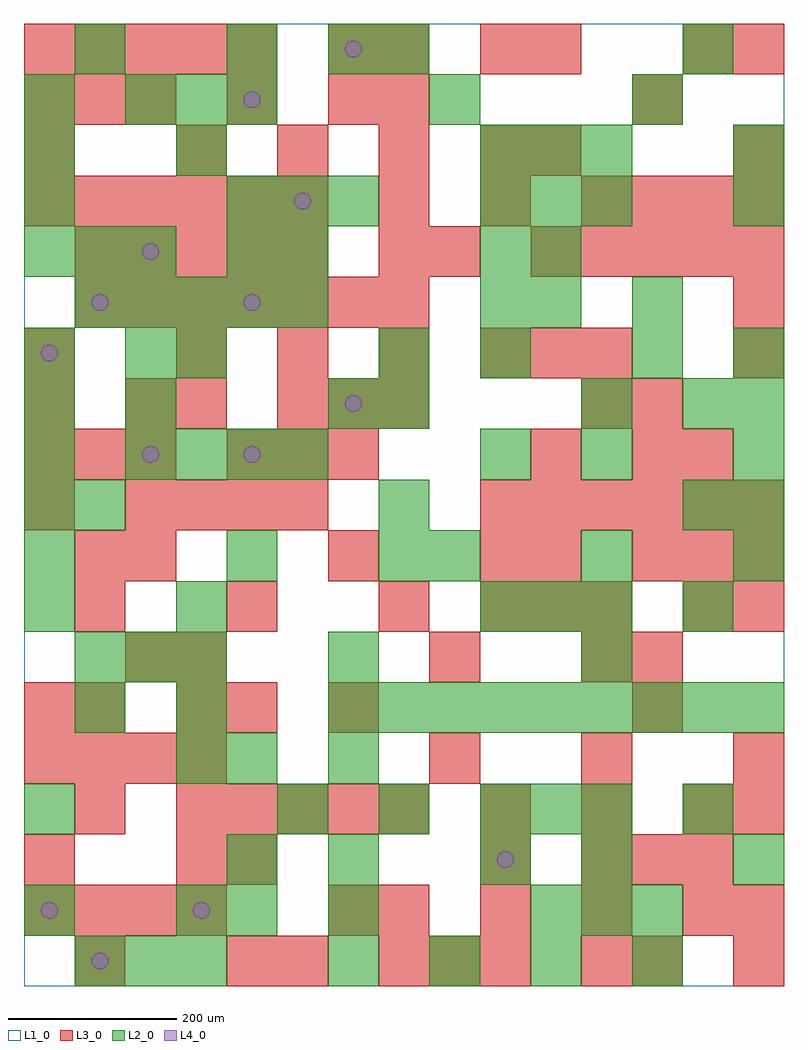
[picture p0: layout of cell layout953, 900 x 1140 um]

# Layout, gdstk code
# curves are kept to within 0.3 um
import gdstk
lib = gdstk.Library(unit=1e-6, precision=1e-09)
def R(c, l, rs):  # rectangles x0, y0, x1, y1
    for r in rs: c.add(gdstk.rectangle(r[:2], r[2:], *l))
def A(c, l, x, y, w, h, nx, ny, dx, dy):  # array of equal rectangles
    R(c, l, [(x+i*dx, y+j*dy, x+i*dx+w, y+j*dy+h) for i in range(nx) for j in range(ny)])
def P(c, l, *ps):  # polygons
    for p in ps: c.add(gdstk.Polygon(p, *l))
L1_0 = (1, 0)
L2_0 = (2, 0)
L3_0 = (3, 0)
L4_0 = (4, 0)

layout953 = lib.new_cell('layout953')
R(layout953, L1_0, [(0,0,900,1140)])
A(layout953, L2_0, 60, 0, 60, 60, 3, 2, 60, 360)
A(layout953, L2_0, 360, 0, 60, 60, 4, 1, 120, 0)
A(layout953, L2_0, 600, 60, 60, 60, 3, 1, 60, 0)
A(layout953, L2_0, 360, 120, 60, 60, 1, 3, 0, 120)
A(layout953, L2_0, 300, 180, 60, 60, 3, 1, 120, 0)
A(layout953, L2_0, 780, 180, 60, 60, 1, 3, 0, 240)
A(layout953, L2_0, 360, 300, 60, 60, 9, 1, 60, 0)
A(layout953, L2_0, 0, 420, 60, 60, 1, 6, 0, 60)
A(layout953, L2_0, 540, 420, 60, 60, 3, 2, 60, 480)
A(layout953, L2_0, 480, 480, 60, 60, 3, 1, 180, 0)
A(layout953, L2_0, 60, 540, 60, 60, 3, 1, 360, 0)
A(layout953, L2_0, 840, 540, 60, 60, 1, 4, 0, 60)
A(layout953, L2_0, 120, 600, 60, 60, 4, 1, 60, 0)
A(layout953, L2_0, 540, 720, 60, 60, 1, 3, 0, 60)
A(layout953, L2_0, 60, 780, 60, 60, 5, 1, 60, 0)
A(layout953, L2_0, 0, 840, 60, 60, 3, 1, 60, 0)
A(layout953, L2_0, 0, 900, 60, 60, 1, 3, 0, 60)
A(layout953, L2_0, 240, 900, 60, 60, 3, 1, 60, 0)
A(layout953, L2_0, 540, 960, 60, 60, 3, 1, 60, 0)
A(layout953, L2_0, 120, 1020, 60, 60, 3, 1, 60, 0)
R(layout953, L2_0, [(0,60,60,120), (180,60,240,120), (240,60,300,120), (360,60,420,120), (240,120,300,180), (540,120,600,180), (660,120,720,180), (840,120,900,180), (0,180,60,240), (600,180,660,240), (660,180,720,240), (180,240,240,300), (240,240,300,300), (60,300,120,360), (180,300,240,360), (660,360,720,420), (180,420,240,480), (240,480,300,540), (420,480,480,540), (540,600,600,660), (660,600,720,660), (120,660,180,720), (360,660,420,720), (420,660,480,720), (660,660,720,720), (120,720,180,780), (180,720,240,780), (420,720,480,780), (720,720,780,780), (600,780,660,840), (720,780,780,840), (240,840,300,900), (300,840,360,900), (600,840,660,900), (840,900,900,960), (180,960,240,1020), (840,960,900,1020), (480,1020,540,1080), (720,1020,780,1080), (60,1080,120,1140), (240,1080,300,1140), (360,1080,420,1140), (420,1080,480,1140), (780,1080,840,1140)])
A(layout953, L3_0, 420, 0, 60, 60, 3, 1, 60, 0)
A(layout953, L3_0, 0, 60, 60, 60, 4, 2, 60, 180)
A(layout953, L3_0, 420, 60, 60, 60, 4, 1, 120, 0)
A(layout953, L3_0, 660, 120, 60, 60, 3, 1, 60, 0)
A(layout953, L3_0, 180, 180, 60, 60, 5, 1, 60, 0)
A(layout953, L3_0, 540, 180, 60, 60, 3, 1, 120, 0)
A(layout953, L3_0, 480, 240, 60, 60, 3, 1, 180, 0)
A(layout953, L3_0, 60, 420, 60, 60, 3, 1, 180, 0)
A(layout953, L3_0, 540, 420, 60, 60, 3, 1, 60, 0)
A(layout953, L3_0, 600, 480, 60, 60, 1, 3, 0, 120)
A(layout953, L3_0, 720, 480, 60, 60, 3, 2, 60, 420)
A(layout953, L3_0, 120, 540, 60, 60, 4, 1, 60, 0)
A(layout953, L3_0, 540, 540, 60, 60, 6, 1, 60, 0)
A(layout953, L3_0, 0, 600, 60, 60, 3, 2, 60, 420)
A(layout953, L3_0, 240, 600, 60, 60, 3, 1, 60, 0)
A(layout953, L3_0, 300, 660, 60, 60, 3, 1, 60, 0)
A(layout953, L3_0, 180, 720, 60, 60, 4, 2, 120, 240)
A(layout953, L3_0, 60, 780, 60, 60, 7, 1, 60, 0)
A(layout953, L3_0, 60, 840, 60, 60, 5, 1, 60, 0)
A(layout953, L3_0, 600, 840, 60, 60, 5, 1, 60, 0)
A(layout953, L3_0, 0, 900, 60, 60, 6, 1, 60, 0)
A(layout953, L3_0, 420, 900, 60, 60, 3, 1, 120, 0)
A(layout953, L3_0, 0, 1080, 60, 60, 5, 1, 60, 0)
R(layout953, L3_0, [(60,0,120,60), (240,0,300,60), (300,0,360,60), (660,0,720,60), (720,0,780,60), (840,0,900,60), (360,60,420,120), (840,60,900,120), (0,120,60,180), (180,120,240,180), (240,120,300,180), (540,120,600,180), (60,180,120,240), (840,180,900,240), (0,300,60,360), (60,300,120,360), (180,300,240,360), (240,300,300,360), (360,300,420,360), (720,300,780,360), (120,360,180,420), (180,360,240,420), (480,360,540,420), (660,360,720,420), (720,360,780,420), (780,420,840,480), (840,420,900,480), (60,480,120,540), (120,480,180,540), (360,480,420,540), (540,480,600,540), (0,540,60,600), (720,600,780,660), (780,600,840,660), (0,660,60,720), (120,660,180,720), (180,660,240,720), (660,660,720,720), (720,660,780,720), (0,720,60,780), (660,720,720,780), (840,720,900,780), (840,780,900,840), (420,840,480,900), (480,840,540,900), (0,960,60,1020), (600,960,660,1020), (840,960,900,1020), (240,1020,300,1080), (360,1020,420,1080), (420,1020,480,1080), (720,1020,780,1080), (360,1080,420,1140), (420,1080,480,1140), (540,1080,600,1140), (600,1080,660,1140), (780,1080,840,1140), (840,1080,900,1140)])
P(layout953, L4_0, [(40,90),(39.239,93.827),(37.071,97.071),(33.827,99.239),(30,100),(26.173,99.239),(22.929,97.071),(20.761,93.827),(20,90),(20.761,86.173),(22.929,82.929),(26.173,80.761),(30,80),(33.827,80.761),(37.071,82.929),(39.239,86.173)],
  [(40,750),(39.239,753.827),(37.071,757.071),(33.827,759.239),(30,760),(26.173,759.239),(22.929,757.071),(20.761,753.827),(20,750),(20.761,746.173),(22.929,742.929),(26.173,740.761),(30,740),(33.827,740.761),(37.071,742.929),(39.239,746.173)],
  [(100,30),(99.239,33.827),(97.071,37.071),(93.827,39.239),(90,40),(86.173,39.239),(82.929,37.071),(80.761,33.827),(80,30),(80.761,26.173),(82.929,22.929),(86.173,20.761),(90,20),(93.827,20.761),(97.071,22.929),(99.239,26.173)],
  [(100,810),(99.239,813.827),(97.071,817.071),(93.827,819.239),(90,820),(86.173,819.239),(82.929,817.071),(80.761,813.827),(80,810),(80.761,806.173),(82.929,802.929),(86.173,800.761),(90,800),(93.827,800.761),(97.071,802.929),(99.239,806.173)],
  [(160,630),(159.239,633.827),(157.071,637.071),(153.827,639.239),(150,640),(146.173,639.239),(142.929,637.071),(140.761,633.827),(140,630),(140.761,626.173),(142.929,622.929),(146.173,620.761),(150,620),(153.827,620.761),(157.071,622.929),(159.239,626.173)],
  [(160,870),(159.239,873.827),(157.071,877.071),(153.827,879.239),(150,880),(146.173,879.239),(142.929,877.071),(140.761,873.827),(140,870),(140.761,866.173),(142.929,862.929),(146.173,860.761),(150,860),(153.827,860.761),(157.071,862.929),(159.239,866.173)],
  [(220,90),(219.239,93.827),(217.071,97.071),(213.827,99.239),(210,100),(206.173,99.239),(202.929,97.071),(200.761,93.827),(200,90),(200.761,86.173),(202.929,82.929),(206.173,80.761),(210,80),(213.827,80.761),(217.071,82.929),(219.239,86.173)],
  [(280,630),(279.239,633.827),(277.071,637.071),(273.827,639.239),(270,640),(266.173,639.239),(262.929,637.071),(260.761,633.827),(260,630),(260.761,626.173),(262.929,622.929),(266.173,620.761),(270,620),(273.827,620.761),(277.071,622.929),(279.239,626.173)],
  [(280,810),(279.239,813.827),(277.071,817.071),(273.827,819.239),(270,820),(266.173,819.239),(262.929,817.071),(260.761,813.827),(260,810),(260.761,806.173),(262.929,802.929),(266.173,800.761),(270,800),(273.827,800.761),(277.071,802.929),(279.239,806.173)],
  [(280,1050),(279.239,1053.827),(277.071,1057.071),(273.827,1059.239),(270,1060),(266.173,1059.239),(262.929,1057.071),(260.761,1053.827),(260,1050),(260.761,1046.173),(262.929,1042.929),(266.173,1040.761),(270,1040),(273.827,1040.761),(277.071,1042.929),(279.239,1046.173)],
  [(340,930),(339.239,933.827),(337.071,937.071),(333.827,939.239),(330,940),(326.173,939.239),(322.929,937.071),(320.761,933.827),(320,930),(320.761,926.173),(322.929,922.929),(326.173,920.761),(330,920),(333.827,920.761),(337.071,922.929),(339.239,926.173)],
  [(400,690),(399.239,693.827),(397.071,697.071),(393.827,699.239),(390,700),(386.173,699.239),(382.929,697.071),(380.761,693.827),(380,690),(380.761,686.173),(382.929,682.929),(386.173,680.761),(390,680),(393.827,680.761),(397.071,682.929),(399.239,686.173)],
  [(400,1110),(399.239,1113.827),(397.071,1117.071),(393.827,1119.239),(390,1120),(386.173,1119.239),(382.929,1117.071),(380.761,1113.827),(380,1110),(380.761,1106.173),(382.929,1102.929),(386.173,1100.761),(390,1100),(393.827,1100.761),(397.071,1102.929),(399.239,1106.173)],
  [(580,150),(579.239,153.827),(577.071,157.071),(573.827,159.239),(570,160),(566.173,159.239),(562.929,157.071),(560.761,153.827),(560,150),(560.761,146.173),(562.929,142.929),(566.173,140.761),(570,140),(573.827,140.761),(577.071,142.929),(579.239,146.173)])

lib.write_gds('layout953.gds')
